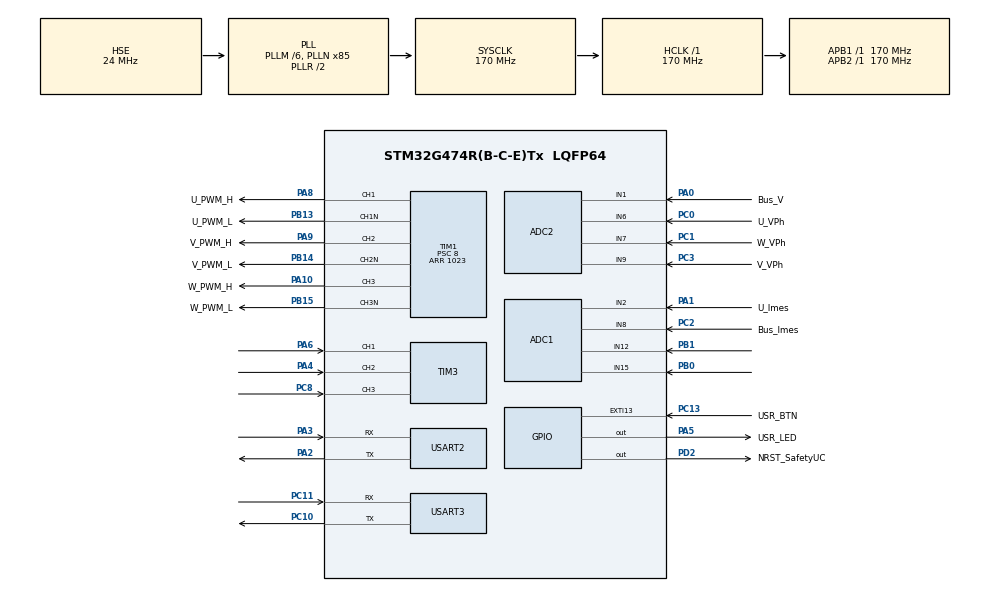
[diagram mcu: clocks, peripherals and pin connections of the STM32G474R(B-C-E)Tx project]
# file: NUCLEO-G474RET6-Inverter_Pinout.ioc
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ADC1.Channel-0\#ChannelRegularConversion=ADC_CHANNEL_2
ADC1.ClockPrescaler=ADC_CLOCK_ASYNC_DIV4
ADC1.ContinuousConvMode=DISABLE
ADC1.DMAContinuousRequests=ENABLE
ADC1.ExternalTrigConv=ADC_EXTERNALTRIG_T1_TRGO
ADC1.NbrOfConversionFlag=1
ADC1.OffsetNumber-0\#ChannelRegularConversion=ADC_OFFSET_NONE
ADC1.Rank-0\#ChannelRegularConversion=1
ADC1.SamplingTime-0\#ChannelRegularConversion=ADC_SAMPLETIME_640CYCLES_5
ADC1.master=1
ADC2.Channel-0\#ChannelRegularConversion=ADC_CHANNEL_6
ADC2.ClockPrescaler=ADC_CLOCK_ASYNC_DIV4
ADC2.NbrOfConversionFlag=1
ADC2.OffsetNumber-0\#ChannelRegularConversion=ADC_OFFSET_NONE
ADC2.Rank-0\#ChannelRegularConversion=1
ADC2.SamplingTime-0\#ChannelRegularConversion=ADC_SAMPLETIME_2CYCLES_5
Dma.ADC1.0.Direction=DMA_PERIPH_TO_MEMORY
Dma.ADC1.0.EventEnable=DISABLE
Dma.ADC1.0.Instance=DMA1_Channel1
Dma.ADC1.0.MemDataAlignment=DMA_MDATAALIGN_HALFWORD
Dma.ADC1.0.MemInc=DMA_MINC_ENABLE
Dma.ADC1.0.Mode=DMA_CIRCULAR
Dma.ADC1.0.PeriphDataAlignment=DMA_PDATAALIGN_HALFWORD
Dma.ADC1.0.PeriphInc=DMA_PINC_DISABLE
Dma.ADC1.0.Polarity=HAL_DMAMUX_REQ_GEN_RISING
Dma.ADC1.0.Priority=DMA_PRIORITY_LOW
Dma.ADC1.0.RequestNumber=1
Dma.ADC1.0.SignalID=NONE
Dma.ADC1.0.SyncEnable=DISABLE
Dma.ADC1.0.SyncPolarity=HAL_DMAMUX_SYNC_NO_EVENT
Dma.ADC1.0.SyncRequestNumber=1
Dma.ADC1.0.SyncSignalID=NONE
Dma.Request0=ADC1
Mcu.Family=STM32G4
Mcu.Name=STM32G474R(B-C-E)Tx
Mcu.Package=LQFP64
NVIC.ADC1_2_IRQn=true\:0\:0\:false\:false\:true\:true\:true\:true
NVIC.DMA1_Channel1_IRQn=true\:0\:0\:false\:false\:true\:false\:true\:true
NVIC.EXTI15_10_IRQn=true\:0\:0\:false\:false\:true\:true\:true\:true
NVIC.PriorityGroup=NVIC_PRIORITYGROUP_4
NVIC.TIM6_DAC_IRQn=true\:15\:0\:false\:false\:true\:false\:true\:true
NVIC.TimeBase=TIM6_DAC_IRQn
NVIC.TimeBaseIP=TIM6
NVIC.USART2_IRQn=true\:0\:0\:false\:false\:true\:true\:true\:true
NVIC.USART3_IRQn=true\:0\:0\:false\:false\:true\:true\:true\:true
PA0.GPIO_Label=Bus_V
PA0.Mode=IN1-Single-Ended
PA0.Signal=ADC2_IN1
PA1.GPIO_Label=U_Imes
PA1.Mode=IN2-Single-Ended
PA1.Signal=ADC1_IN2
PA10.GPIO_Label=W_PWM_H
PA10.Signal=S_TIM1_CH3
PA13.GPIO_Label=T_SWDIO
PA13.Mode=Trace_Asynchronous_SW
PA13.Signal=SYS_JTMS-SWDIO
PA14.GPIO_Label=T_SWCLK
PA14.Mode=Trace_Asynchronous_SW
PA14.Signal=SYS_JTCK-SWCLK
PA2.Mode=Asynchronous
PA2.Signal=USART2_TX
PA3.Mode=Asynchronous
PA3.Signal=USART2_RX
PA4.Signal=S_TIM3_CH2
PA5.GPIO_Label=USR_LED
PA5.Signal=GPIO_Output
PA6.Signal=S_TIM3_CH1
PA8.GPIO_Label=U_PWM_H
PA8.Signal=S_TIM1_CH1
PA9.GPIO_Label=V_PWM_H
PA9.Signal=S_TIM1_CH2
PB0.Mode=IN15-Single-Ended
PB0.Signal=ADC1_IN15
PB1.Mode=IN12-Single-Ended
PB1.Signal=ADC1_IN12
PB13.GPIO_Label=U_PWM_L
PB13.Mode=PWM Generation1 CH1 CH1N
PB13.Signal=TIM1_CH1N
PB14.GPIO_Label=V_PWM_L
PB14.Mode=PWM Generation2 CH2 CH2N
PB14.Signal=TIM1_CH2N
PB15.GPIO_Label=W_PWM_L
PB15.Mode=PWM Generation3 CH3 CH3N
PB15.Signal=TIM1_CH3N
PB3.GPIO_Label=T_SWO
PB3.Mode=Trace_Asynchronous_SW
PB3.Signal=SYS_JTDO-SWO
PC0.GPIO_Label=U_VPh
PC0.Mode=IN6-Single-Ended
PC0.Signal=ADC2_IN6
PC1.GPIO_Label=W_VPh
PC1.Mode=IN7-Single-Ended
PC1.Signal=ADC2_IN7
PC10.Mode=Asynchronous
PC10.Signal=USART3_TX
PC11.Mode=Asynchronous
PC11.Signal=USART3_RX
PC13.GPIO_Label=USR_BTN
PC13.Signal=GPXTI13
PC14-OSC32_IN.Mode=LSE-External-Oscillator
PC14-OSC32_IN.Signal=RCC_OSC32_IN
PC15-OSC32_OUT.Mode=LSE-External-Oscillator
PC15-OSC32_OUT.Signal=RCC_OSC32_OUT
PC2.GPIO_Label=Bus_Imes
PC2.Mode=IN8-Single-Ended
PC2.Signal=ADC1_IN8
PC3.GPIO_Label=V_VPh
PC3.Mode=IN9-Single-Ended
PC3.Signal=ADC2_IN9
PC8.Signal=S_TIM3_CH3
PD2.GPIO_Label=NRST_SafetyUC
PD2.Signal=GPIO_Output
PF0-OSC_IN.Mode=HSE-External-Oscillator
PF0-OSC_IN.Signal=RCC_OSC_IN
PF1-OSC_OUT.Mode=HSE-External-Oscillator
PF1-OSC_OUT.Signal=RCC_OSC_OUT
ProjectManager.HeapSize=0x200
ProjectManager.StackSize=0x400
ProjectManager.TargetToolchain=STM32CubeIDE
RCC.ADC12Freq_Value=170000000
RCC.ADC345Freq_Value=170000000
RCC.AHBFreq_Value=170000000
RCC.APB1Freq_Value=170000000
RCC.APB1TimFreq_Value=170000000
RCC.APB2Freq_Value=170000000
RCC.APB2TimFreq_Value=170000000
RCC.CortexFreq_Value=170000000
RCC.EXTERNAL_CLOCK_VALUE=12288000
RCC.HCLKFreq_Value=170000000
RCC.HSE_VALUE=24000000
RCC.HSI48_VALUE=48000000
RCC.HSI_VALUE=16000000
RCC.PLLM=RCC_PLLM_DIV6
RCC.PLLN=85
RCC.PLLSourceVirtual=RCC_PLLSOURCE_HSE
RCC.RTCClockSelection=RCC_RTCCLKSOURCE_LSE
RCC.SYSCLKFreq_VALUE=170000000
RCC.SYSCLKSource=RCC_SYSCLKSOURCE_PLLCLK
RCC.USBFreq_Value=170000000
RCC.VCOOutputFreq_Value=340000000
SH.S_TIM1_CH1.0=TIM1_CH1,PWM Generation1 CH1 CH1N
SH.S_TIM1_CH2.0=TIM1_CH2,PWM Generation2 CH2 CH2N
SH.S_TIM1_CH3.0=TIM1_CH3,PWM Generation3 CH3 CH3N
SH.S_TIM3_CH1.0=TIM3_CH1,Xored_Inputs_Hall_Sensor_Interface
SH.S_TIM3_CH2.0=TIM3_CH2,Xored_Inputs_Hall_Sensor_Interface
SH.S_TIM3_CH3.0=TIM3_CH3,Xored_Inputs_Hall_Sensor_Interface
TIM1.Channel-PWM\ Generation1\ CH1\ CH1N=TIM_CHANNEL_1
TIM1.Channel-PWM\ Generation2\ CH2\ CH2N=TIM_CHANNEL_2
TIM1.Channel-PWM\ Generation3\ CH3\ CH3N=TIM_CHANNEL_3
TIM1.CounterMode=TIM_COUNTERMODE_CENTERALIGNED1
TIM1.DeadTime=30
TIM1.DeadTimePreload=ENABLE
TIM1.OCNIdleState_1=TIM_OCNIDLESTATE_RESET
TIM1.OCNPolarity_1=TIM_OCNPOLARITY_HIGH
TIM1.PeriodNoDither=1023
TIM1.Prescaler=8
TIM1.PulseNoDither_1=512
TIM1.PulseNoDither_2=512
TIM1.PulseNoDither_3=85
TIM1.TIM_MasterOutputTrigger=TIM_TRGO_UPDATE
TIM1.TIM_MasterOutputTrigger2=TIM_TRGO2_UPDATE
TIM1.TIM_MasterSlaveMode=TIM_MASTERSLAVEMODE_ENABLE
USART2.VirtualMode-Asynchronous=VM_ASYNC
USART3.VirtualMode-Asynchronous=VM_ASYNC
VP_SYS_VS_DBSignals.Mode=DisableDeadBatterySignals
VP_SYS_VS_tim6.Mode=TIM6
VP_TIM1_VS_ClockSourceINT.Mode=Internal
board=NUCLEO-G474RE

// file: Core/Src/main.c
/* USER CODE BEGIN Header */
/**
 ******************************************************************************
 * @file           : main.c
 * @brief          : Main program body
 ******************************************************************************
 * @attention
 *
 * Copyright (c) 2023 STMicroelectronics.
 * All rights reserved.
 *
 * This software is licensed under terms that can be found in the LICENSE file
 * in the root directory of this software component.
 * If no LICENSE file comes with this software, it is provided AS-IS.
 *
 ******************************************************************************
 */
/* USER CODE END Header */
#include "main.h"
#include "adc.h"
#include "dma.h"
#include "tim.h"
#include "usart.h"
#include "gpio.h"
#include "stdio.h"

/* USER CODE BEGIN Includes */
#include "mylibs/shell.h"
#include "mylibs/pwm.h"
/* USER CODE END Includes */

/* USER CODE BEGIN PD */
#define ADC_BUF_SIZE 1
/* USER CODE END PD */

/* USER CODE BEGIN PV */
uint32_t buffer[ADC_BUF_SIZE];
uint8_t flag=0;
uint16_t adc_vall;
extern uint8_t uartTxBuffer[UART_TX_BUFFER_SIZE];

/* USER CODE END PV */

void SystemClock_Config(void);

/* USER CODE BEGIN 0 */
void HAL_ADC_ConvCpltCallback(ADC_HandleTypeDef *hadc)
{
	//	if(HAL_ADC_Stop_DMA(&hadc1)!= HAL_OK){
	//		Error_Handler();
	//		flag=1;
	//	}
	//Interupt Mode
	//	adc_vall = HAL_ADC_GetValue(&hadc1);
	//	HAL_ADC_Start_IT(&hadc1);
	adc_vall= (buffer[0]-1351)/40.95;
	flag = 1;
}
/* USER CODE END 0 */

int main(void)
{
  /* USER CODE BEGIN 1 */
	int nb_loop = 0;
  /* USER CODE END 1 */

  /* MCU Configuration--------------------------------------------------------*/

  /* Reset of all peripherals, Initializes the Flash interface and the Systick. */
  HAL_Init();

  /* Configure the system clock */
  SystemClock_Config();

  /* Initialize all configured peripherals */
  MX_GPIO_Init();
  MX_DMA_Init();
  MX_ADC2_Init();
  MX_ADC1_Init();
  MX_TIM1_Init();
  MX_TIM3_Init();
  MX_USART2_UART_Init();
  MX_USART3_UART_Init();
  /* USER CODE BEGIN 2 */
	//	HAL_ADC_Start_IT(&hadc1);
	//if(HAL_OK =! HAL_ADCEx_Calibration_Start(&hadc1,ADC_SINGLE_ENDED)){
	//Error_Handler();

		if(HAL_OK != HAL_ADC_Start_DMA(&hadc1, buffer, ADC_BUF_SIZE)){
			Error_Handler();
		}

	//	HAL_TIM_PWM_Start(&htim1, TIM_CHANNEL_1);
	//	HAL_TIMEx_PWMN_Start(&htim1, TIM_CHANNEL_1);
	//
	//	HAL_TIM_PWM_Start(&htim1, TIM_CHANNEL_2);
	//	HAL_TIMEx_PWMN_Start(&htim1, TIM_CHANNEL_2);
	//	__HAL_TIM_SetCompare(&htim1,TIM_CHANNEL_1,512);
	//	__HAL_TIM_SetCompare(&htim1,TIM_CHANNEL_2,1024-512);

	/*pwm_start();
	set_pwm_alpha(70);*/

	Shell_Init();
  /* USER CODE END 2 */

  /* Infinite loop */
  /* USER CODE BEGIN WHILE */
	while (1)
	{
		Shell_Loop();
				if(flag){
					nb_loop = (nb_loop + 1)%20000;
					if(nb_loop == 0){
						int uartTxStringLength = snprintf((char *)uartTxBuffer, UART_TX_BUFFER_SIZE, "Valeur : %4d \r\n", adc_vall);
						HAL_UART_Transmit(&huart2, uartTxBuffer, uartTxStringLength, HAL_MAX_DELAY);
					}
					flag = 0;
				}
//		HAL_ADC_Start(&hadc1);
//		HAL_ADC_PollForConversion(&hadc1, HAL_MAX_DELAY);
//		int value = HAL_ADC_GetValue(&hadc1);
//		int uartTxStringLength = snprintf((char *)uartTxBuffer, UART_TX_BUFFER_SIZE, "Valeur : %4d \r\n", value);
//		HAL_UART_Transmit(&huart2, uartTxBuffer, uartTxStringLength, HAL_MAX_DELAY);

//		HAL_Delay(1000);
    /* USER CODE END WHILE */

	}
}

void SystemClock_Config(void)
{
  RCC_OscInitTypeDef RCC_OscInitStruct = {0};
  RCC_ClkInitTypeDef RCC_ClkInitStruct = {0};

  /** Configure the main internal regulator output voltage
  */
  HAL_PWREx_ControlVoltageScaling(PWR_REGULATOR_VOLTAGE_SCALE1_BOOST);

  /** Initializes the RCC Oscillators according to the specified parameters
  * in the RCC_OscInitTypeDef structure.
  */
  RCC_OscInitStruct.OscillatorType = RCC_OSCILLATORTYPE_HSE;
  RCC_OscInitStruct.HSEState = RCC_HSE_ON;
  RCC_OscInitStruct.PLL.PLLState = RCC_PLL_ON;
  RCC_OscInitStruct.PLL.PLLSource = RCC_PLLSOURCE_HSE;
  RCC_OscInitStruct.PLL.PLLM = RCC_PLLM_DIV6;
  RCC_OscInitStruct.PLL.PLLN = 85;
  RCC_OscInitStruct.PLL.PLLP = RCC_PLLP_DIV2;
  RCC_OscInitStruct.PLL.PLLQ = RCC_PLLQ_DIV2;
  RCC_OscInitStruct.PLL.PLLR = RCC_PLLR_DIV2;
  if (HAL_RCC_OscConfig(&RCC_OscInitStruct) != HAL_OK)
  {
    Error_Handler();
  }

  /** Initializes the CPU, AHB and APB buses clocks
  */
  RCC_ClkInitStruct.ClockType = RCC_CLOCKTYPE_HCLK|RCC_CLOCKTYPE_SYSCLK
                              |RCC_CLOCKTYPE_PCLK1|RCC_CLOCKTYPE_PCLK2;
  RCC_ClkInitStruct.SYSCLKSource = RCC_SYSCLKSOURCE_PLLCLK;
  RCC_ClkInitStruct.AHBCLKDivider = RCC_SYSCLK_DIV1;
  RCC_ClkInitStruct.APB1CLKDivider = RCC_HCLK_DIV1;
  RCC_ClkInitStruct.APB2CLKDivider = RCC_HCLK_DIV1;

  if (HAL_RCC_ClockConfig(&RCC_ClkInitStruct, FLASH_LATENCY_4) != HAL_OK)
  {
    Error_Handler();
  }
}

void HAL_TIM_PeriodElapsedCallback(TIM_HandleTypeDef *htim)
{
  if (htim->Instance == TIM6) {
    HAL_IncTick();
  }
}

void Error_Handler(void)
{
	__disable_irq();
	while (1)
	{
	}
}
